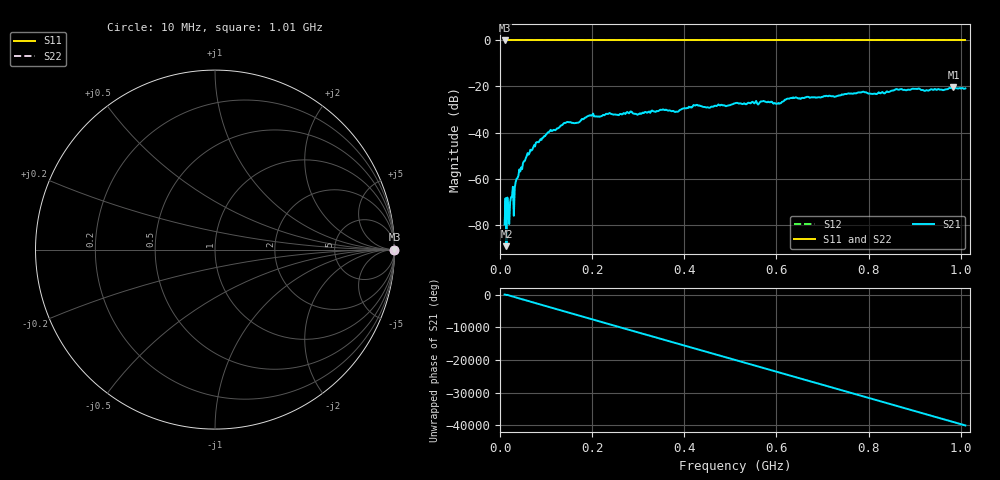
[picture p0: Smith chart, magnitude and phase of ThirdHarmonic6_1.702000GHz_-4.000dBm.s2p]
! 8/16/2025 8:27:19 PM
! C:\ANRITSUVNA\TEMP\TEMP.S2P
! CHANNEL.1
! TR.MEASUREMENT
! RAW.DATA
! RF.CORRECTION.OFF
! AVERAGING.OFF
! IF.BANDWIDTH: 5KHZ
! SWEEPTYPE:  FREQ.SWEEP(Linear)
! Reference Plane Port Info
! PORT:  PORT1  PORT2
! DISTANCE:  0  m  0  m
! TIME:  0  s  0  s
! PHASE.OFFSET:  0  deg.  0  deg.
! LOSS:  0  dB  0  dB
! REF.LOSS:  0  dB  0  dB
! REF.FREQ:  0  Hz  0  Hz
! Power Info
! POWER:  -20  dBm  -20  dBm
! EFF.POWER:  -20  dBm  -20  dBm
! SOURCE.ATTEN:  0  dB  0  dB
! TEST.ATTEN:  0  dB  0  dB
# GHZ S RI R 50.0
! FREQ.GHZ  S11RE  S11IM  S21RE  S21IM  S12RE  S12IM  S22RE  S22IM
!; PortSelection: Port_12
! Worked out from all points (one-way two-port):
!   501 points, 10 MHz to 1.01 GHz, reference 50 ohm
!   highest |S21| = -20.43 dB at 984 MHz (marker M1); lowest = -89.4 dB at 14 MHz (marker M2)
!   lowest |S11| = 0.0 dB at 10 MHz (marker M3)
!   |S11| at or under -10 dB: nowhere
!   |S22| runs from 0.0 to 0.0 dB; largest |S21 - S12| = 1.1
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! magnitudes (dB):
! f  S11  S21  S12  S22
! 10 MHz  0.0  -80.0  0.0  0.0
! 14 MHz  0.0  -89.4  0.0  0.0
! 18 MHz  0.0  -73.5  0.0  0.0
! 34 MHz  0.0  -61.5  0.0  0.0
! 38 MHz  0.0  -59.8  0.0  0.0
! 46 MHz  0.0  -55.1  0.0  0.0
! 76 MHz  0.0  -46.0  0.0  0.0
! 106 MHz  0.0  -39.9  0.0  0.0
! 142 MHz  0.0  -35.9  0.0  0.0
! 178 MHz  0.0  -34.1  0.0  0.0
! 198 MHz  0.0  -32.7  0.0  0.0
! 344 MHz  0.0  -30.6  0.0  0.0
! 384 MHz  0.0  -31.0  0.0  0.0
! 424 MHz  0.0  -28.3  0.0  0.0
! 452 MHz  0.0  -29.1  0.0  0.0
! 510 MHz  0.0  -27.3  0.0  0.0
! 604 MHz  0.0  -27.2  0.0  0.0
! 632 MHz  0.0  -24.9  0.0  0.0
! 678 MHz  0.0  -24.7  0.0  0.0
! 844 MHz  0.0  -22.4  0.0  0.0
! 984 MHz  0.0  -20.4  0.0  0.0
! 1.01 GHz  0.0  -20.8  0.0  0.0
